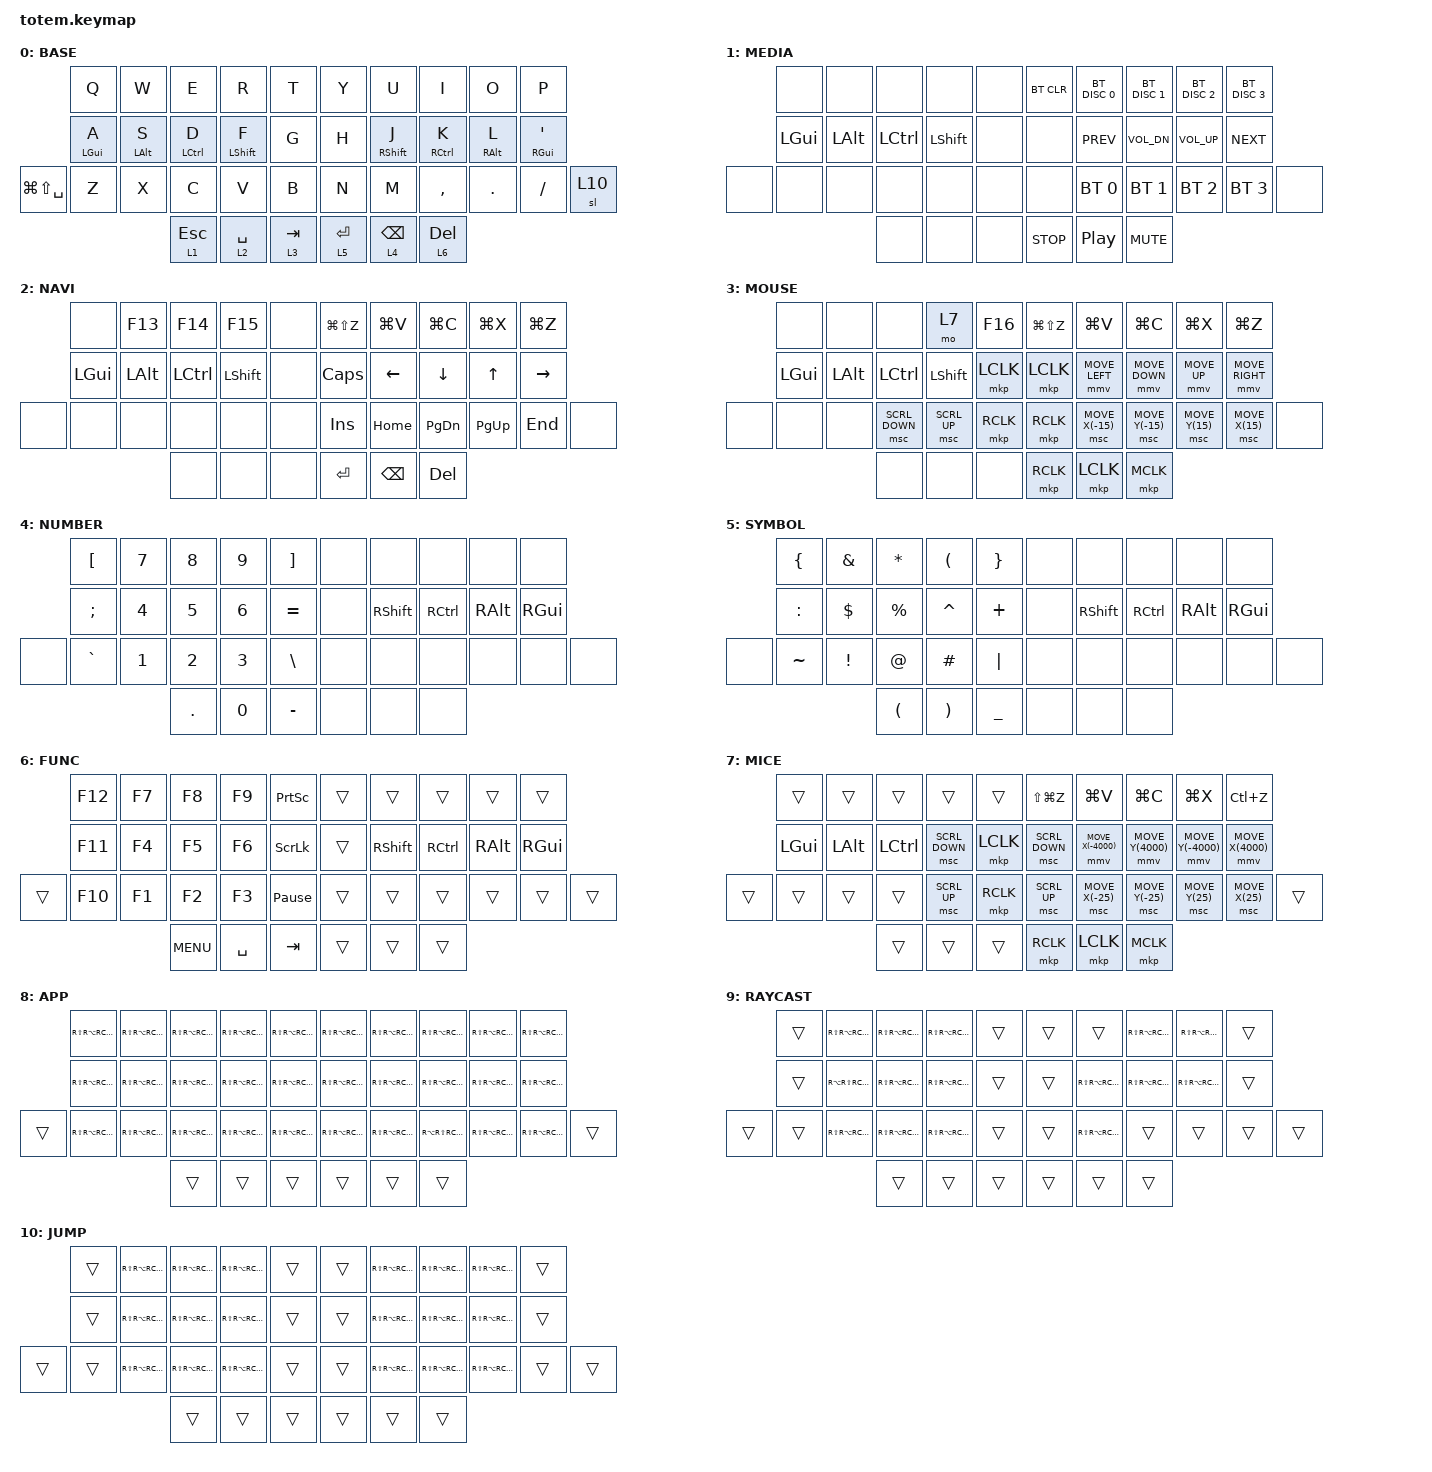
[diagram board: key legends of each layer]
//
//                                                        ▀▀▀▀▀     ▀▀▀▀▀          ▀▀█▀▀
//                                                        ▄▀▀▀▄  ▄  ▄▀▀▀▄  ▄  ▄▀▀▀▄  █  ▄▀▀▀▄
//                                                        █   █  █  █   █  █  █   █  █  █   █
//                                                         ▀▀▀   █   ▀▀▀   █   ▀▀▀   ▀   ▀▀▀
//                                                               █      ▄▄▄█▄▄▄    █   █  
//                                                               ▀      █  █  █     █▄█
//                                                             ▀▀▀▀▀    █  █  █      ▀
//                                                                      ▀  ▀  ▀
//
// ▄▄▄▄▄▄▄▄▄▄▄▄▄▄▄▄▄▄▄▄▄▄▄▄▄▄▄▄▄▄▄▄▄▄▄▄▄▄▄▄▄▄▄▄▄▄▄▄▄▄▄▄▄▄▄▄▄▄▄▄▄▄▄▄▄▄▄▄▄▄▄▄▄▄▄▄▄▄▄▄▄▄▄▄▄▄▄▄▄▄▄▄▄▄▄▄▄▄▄▄▄▄▄▄▄▄▄▄▄▄▄▄▄▄▄▄▄▄▄▄▄▄▄▄▄▄▄▄▄▄▄▄▄▄▄▄▄▄▄▄▄▄▄▄▄▄▄▄▄

#include "pointing_config.h"
#include <behaviors.dtsi>
#include <dt-bindings/zmk/bt.h>
#include <dt-bindings/zmk/keys.h>
#include <dt-bindings/zmk/pointing.h>

#define BASE 0
#define NAV  1
#define SYM  2
#define ADJ  3
#define TVP1 4
#define TVP2 5

&mt {
    quick-tap-ms = <100>;
    global-quick-tap;
    flavor = "tap-preferred";
    tapping-term-ms = <170>;
};

/ {
    combos {
        compatible = "zmk,combos";

        app_layer_combo {
            bindings = <&mo 8>;
            key-positions = <33 34>;
        };

        ray_layer_combo {
            bindings = <&mo 9>;
            key-positions = <36 35>;
        };
    };

    macros {
        gif: gif {
            label = "giphy";
            compatible = "zmk,behavior-macro";
            #binding-cells = <0>;
            bindings =
                <&macro_press>,
                <&kp LSHFT>,
                <&macro_tap>,
                <&kp N2>,
                <&macro_release>,
                <&kp LSHFT>,
                <&macro_tap>,
                <&kp G &kp I &kp F>;
        };
    };

    keymap {
        compatible = "zmk,keymap";

        // ▄▄▄▄▄▄▄▄▄▄▄▄▄▄▄▄▄▄▄▄▄▄▄▄▄▄▄▄▄▄▄▄▄▄▄▄▄▄▄▄▄▄▄▄▄▄▄▄▄▄▄▄▄▄▄▄▄▄▄▄▄▄▄▄▄▄▄▄▄▄▄▄▄▄▄▄▄▄▄▄▄▄▄▄▄▄▄▄▄▄▄▄▄▄▄▄▄▄▄▄▄▄▄▄▄▄▄▄▄▄▄▄▄▄▄▄▄▄▄▄▄▄▄▄▄▄▄▄▄▄▄▄▄▄▄▄▄▄▄▄▄▄▄▄▄▄▄▄▄

        BASE {
            // ┏━━━━━━━━━━━━━━━━━━━━━━━━━━━━━━━━━━━━━━━┓

            label = "BASE";

            // ┗━━━━━━━━━━━━━━━━━━━━━━━━━━━━━━━━━━━━━━━┛
            //             ┏━━━━━━━━━━━┳━━━━━━━━━━━┳━━━━━━━━━━━┳━━━━━━━━━━━┳━━━━━━━━━━━┓   ┏━━━━━━━━━━━┳━━━━━━━━━━━┳━━━━━━━━━━━┳━━━━━━━━━━━┳━━━━━━━━━━━┓
            //             ┃     Q     ┃     W     ┃     F     ┃     P     ┃     G     ┃   ┃     J     ┃     L     ┃     U     ┃     Y     ┃     ;     ┃
            //             ┣━━━━━━━━━━━╋━━━━━━━━━━━╋━━━━━━━━━━━╋━━━━━━━━━━━╋━━━━━━━━━━━┫   ┣━━━━━━━━━━━╋━━━━━━━━━━━╋━━━━━━━━━━━╋━━━━━━━━━━━╋━━━━━━━━━━━┫
            //             ┃     A     ┃     R     ┃     S     ┃     T     ┃     D     ┃   ┃     H     ┃     N     ┃     E     ┃     I     ┃     O     ┃
            // ┏━━━━━━━━━━━╋━━━━━━━━━━━╋━━━━━━━━━━━╋━━━━━━━━━━━╋━━━━━━━━━━━╋━━━━━━━━━━━┫   ┣━━━━━━━━━━━╋━━━━━━━━━━━╋━━━━━━━━━━━╋━━━━━━━━━━━╋━━━━━━━━━━━╋━━━━━━━━━━━┓
            // ┃     Q     ┃     Z     ┃     X     ┃     C     ┃     V     ┃     B     ┃   ┃     K     ┃     M     ┃     ,     ┃     .     ┃     /     ┃     \     ┃
            // ┗━━━━━━━━━━━┻━━━━━━━━━━━┻━━━━━━━━━━━╋━━━━━━━━━━━╋━━━━━━━━━━━╋━━━━━━━━━━━┫   ┣━━━━━━━━━━━╋━━━━━━━━━━━╋━━━━━━━━━━━╋━━━━━━━━━━━┻━━━━━━━━━━━┻━━━━━━━━━━━┛
            //                                     ┃    DEL    ┃    TAB    ┃    SPC    ┃   ┃   ENTER   ┃           ┃   BSPC    ┃
            //                                     ┗━━━━━━━━━━━┻━━━━━━━━━━━┻━━━━━━━━━━━┛   ┗━━━━━━━━━━━┻━━━━━━━━━━━┻━━━━━━━━━━━┛

            bindings = <
                   &kp Q       &kp W       &kp E        &kp R        &kp T        &kp Y        &kp U            &kp I         &kp O       &kp P
                   &mt LGUI A  &mt LALT S  &mt LCTRL D  &mt LSHFT F  &kp G        &kp H        &mt RSHFT J      &mt RCTRL K   &mt RALT L  &mt RGUI SQT
&kp LG(LS(SPACE))  &kp Z       &kp X       &kp C        &kp V        &kp B        &kp N        &kp M            &kp COMMA     &kp PERIOD  &kp SLASH     &sl 10
                                           &lt 1 ESC    &lt 2 SPACE  &lt 3 TAB    &lt 5 ENTER  &lt 4 BACKSPACE  &lt 6 DELETE
            >;
        };

        MEDIA {
            // ┏━━━━━━━━━━━━━━━━━━━━━━━━━━━━━━━━━━━━━━━┓

            label = "MEDIA";

            // ┗━━━━━━━━━━━━━━━━━━━━━━━━━━━━━━━━━━━━━━━┛
            //             ┏━━━━━━━━━━━┳━━━━━━━━━━━┳━━━━━━━━━━━┳━━━━━━━━━━━┳━━━━━━━━━━━┓   ┏━━━━━━━━━━━┳━━━━━━━━━━━┳━━━━━━━━━━━┳━━━━━━━━━━━┳━━━━━━━━━━━┓
            //             ┃   RESET   ┃ BT CLEAR  ┃  OUT TOG  ┃           ┃           ┃   ┃           ┃    F7     ┃    F8     ┃    F9     ┃    F12    ┃
            //             ┣━━━━━━━━━━━╋━━━━━━━━━━━╋━━━━━━━━━━━╋━━━━━━━━━━━╋━━━━━━━━━━━┫   ┣━━━━━━━━━━━╋━━━━━━━━━━━╋━━━━━━━━━━━╋━━━━━━━━━━━╋━━━━━━━━━━━┫
            //             ┃ BOOTLOAD  ┃ BT NEXT   ┃           ┃           ┃           ┃   ┃           ┃    F4     ┃    F5     ┃    F6     ┃    F11    ┃
            // ┏━━━━━━━━━━━╋━━━━━━━━━━━╋━━━━━━━━━━━╋━━━━━━━━━━━╋━━━━━━━━━━━╋━━━━━━━━━━━┫   ┣━━━━━━━━━━━╋━━━━━━━━━━━╋━━━━━━━━━━━╋━━━━━━━━━━━╋━━━━━━━━━━━╋━━━━━━━━━━━┓
            // ┃           ┃           ┃ BT PREV   ┃           ┃           ┃           ┃   ┃           ┃    F1     ┃    F2     ┃    F3     ┃    F10    ┃           ┃
            // ┗━━━━━━━━━━━┻━━━━━━━━━━━┻━━━━━━━━━━━╋━━━━━━━━━━━╋━━━━━━━━━━━╋━━━━━━━━━━━┫   ┣━━━━━━━━━━━╋━━━━━━━━━━━╋━━━━━━━━━━━╋━━━━━━━━━━━┻━━━━━━━━━━━┻━━━━━━━━━━━┛
            //                                     ┃           ┃           ┃           ┃   ┃           ┃           ┃           ┃
            //                                     ┗━━━━━━━━━━━┻━━━━━━━━━━━┻━━━━━━━━━━━┛   ┗━━━━━━━━━━━┻━━━━━━━━━━━┻━━━━━━━━━━━┛

            bindings = <
       &none         &none         &none      &none           &none    &bt BT_CLR  &bt BT_DISC 0     &bt BT_DISC 1  &bt BT_DISC 2    &bt BT_DISC 3
       &kp LEFT_GUI  &kp LEFT_ALT  &kp LCTRL  &kp LEFT_SHIFT  &none    &none       &kp C_PREV        &kp C_VOL_DN   &kp C_VOLUME_UP  &kp C_NEXT
&none  &none         &none         &none      &none           &none    &none       &bt BT_SEL 0      &bt BT_SEL 1   &bt BT_SEL 2     &bt BT_SEL 3   &none
                                   &none      &none           &none    &kp C_STOP  &kp C_PLAY_PAUSE  &kp C_MUTE
            >;
        };

        NAVI {
            // ┏━━━━━━━━━━━━━━━━━━━━━━━━━━━━━━━━━━━━━━━┓

            label = "NAVI";

            // ┗━━━━━━━━━━━━━━━━━━━━━━━━━━━━━━━━━━━━━━━┛
            //             ┏━━━━━━━━━━━┳━━━━━━━━━━━┳━━━━━━━━━━━┳━━━━━━━━━━━┳━━━━━━━━━━━┓   ┏━━━━━━━━━━━┳━━━━━━━━━━━┳━━━━━━━━━━━┳━━━━━━━━━━━┳━━━━━━━━━━━┓
            //             ┃           ┃           ┃     UP    ┃           ┃     {     ┃   ┃     }     ┃     7     ┃     8     ┃     9     ┃     +     ┃
            //             ┣━━━━━━━━━━━╋━━━━━━━━━━━╋━━━━━━━━━━━╋━━━━━━━━━━━╋━━━━━━━━━━━┫   ┣━━━━━━━━━━━╋━━━━━━━━━━━╋━━━━━━━━━━━╋━━━━━━━━━━━╋━━━━━━━━━━━┫
            //             ┃   SHIFT   ┃   LEFT    ┃    DOWN   ┃   RIGHT   ┃     [     ┃   ┃     ]     ┃     4     ┃     5     ┃     6     ┃     -     ┃
            // ┏━━━━━━━━━━━╋━━━━━━━━━━━╋━━━━━━━━━━━╋━━━━━━━━━━━╋━━━━━━━━━━━╋━━━━━━━━━━━┫   ┣━━━━━━━━━━━╋━━━━━━━━━━━╋━━━━━━━━━━━╋━━━━━━━━━━━╋━━━━━━━━━━━╋━━━━━━━━━━━┓
            // ┃           ┃           ┃   P UP    ┃  C LOCK   ┃  P DOWN   ┃     (     ┃   ┃     )     ┃     1     ┃     2     ┃     3     ┃     *     ┃           ┃
            // ┗━━━━━━━━━━━┻━━━━━━━━━━━┻━━━━━━━━━━━╋━━━━━━━━━━━╋━━━━━━━━━━━╋━━━━━━━━━━━┫   ┣━━━━━━━━━━━╋━━━━━━━━━━━╋━━━━━━━━━━━╋━━━━━━━━━━━┻━━━━━━━━━━━┻━━━━━━━━━━━┛
            //                                     ┃           ┃    TAB    ┃    SPC    ┃   ┃    DEL    ┃     0     ┃           ┃
            //                                     ┗━━━━━━━━━━━┻━━━━━━━━━━━┻━━━━━━━━━━━┛   ┗━━━━━━━━━━━┻━━━━━━━━━━━┻━━━━━━━━━━━┛

            bindings = <
       &none     &kp F13   &kp F14    &kp F15     &none    &kp LG(LS(Z))  &kp LG(V)      &kp LG(C)      &kp LG(X)     &kp LG(Z)
       &kp LGUI  &kp LALT  &kp LCTRL  &kp LSHIFT  &none    &kp CAPSLOCK   &kp LEFT       &kp DOWN       &kp UP_ARROW  &kp RIGHT
&none  &none     &none     &none      &none       &none    &kp INSERT     &kp HOME       &kp PAGE_DOWN  &kp PAGE_UP   &kp END    &none
                           &none      &none       &none    &kp ENTER      &kp BACKSPACE  &kp DELETE
            >;
        };

        MOUSE {
            // ┏━━━━━━━━━━━━━━━━━━━━━━━━━━━━━━━━━━━━━━━┓

            label = "MOUSE";

            // ┗━━━━━━━━━━━━━━━━━━━━━━━━━━━━━━━━━━━━━━━┛

            bindings = <
       &none     &none         &none           &mo 7           &kp F16      &kp LG(LS(Z))  &kp LG(V)         &kp LG(C)         &kp LG(X)        &kp LG(Z)
       &kp LGUI  &kp LEFT_ALT  &kp LCTRL       &kp LEFT_SHIFT  &mkp LCLK    &mkp LCLK      &mmv MOVE_LEFT    &mmv MOVE_DOWN    &mmv MOVE_UP     &mmv MOVE_RIGHT
&none  &none     &none         &msc SCRL_DOWN  &msc SCRL_UP    &mkp RCLK    &mkp RCLK      &msc MOVE_X(-15)  &msc MOVE_Y(-15)  &msc MOVE_Y(15)  &msc MOVE_X(15)  &none
                               &none           &none           &none        &mkp RCLK      &mkp LCLK         &mkp MCLK
            >;
        };

        NUMBER {
            // ┏━━━━━━━━━━━━━━━━━━━━━━━━━━━━━━━━━━━━━━━┓

            label = "NUMBER";

            // ┗━━━━━━━━━━━━━━━━━━━━━━━━━━━━━━━━━━━━━━━┛
            //             ┏━━━━━━━━━━━┳━━━━━━━━━━━┳━━━━━━━━━━━┳━━━━━━━━━━━┳━━━━━━━━━━━┓   ┏━━━━━━━━━━━┳━━━━━━━━━━━┳━━━━━━━━━━━┳━━━━━━━━━━━┳━━━━━━━━━━━┓
            //             ┃ NEXT FILE ┃ MARK IN   ┃ ROTATE    ┃ MARK OUT  ┃ SHOW SNAP ┃   ┃           ┃           ┃           ┃           ┃           ┃
            //             ┣━━━━━━━━━━━╋━━━━━━━━━━━╋━━━━━━━━━━━╋━━━━━━━━━━━╋━━━━━━━━━━━┫   ┣━━━━━━━━━━━╋━━━━━━━━━━━╋━━━━━━━━━━━╋━━━━━━━━━━━╋━━━━━━━━━━━┫
            //             ┃ TVP II    ┃ LEFT      ┃ PAN       ┃ RIGHT     ┃ PLAY/FLIP ┃   ┃           ┃           ┃           ┃           ┃           ┃
            // ┏━━━━━━━━━━━╋━━━━━━━━━━━╋━━━━━━━━━━━╋━━━━━━━━━━━╋━━━━━━━━━━━╋━━━━━━━━━━━┫   ┣━━━━━━━━━━━╋━━━━━━━━━━━╋━━━━━━━━━━━╋━━━━━━━━━━━╋━━━━━━━━━━━╋━━━━━━━━━━━┓
            // ┃ FULLSCR   ┃ SHIFT     ┃ COPY      ┃ DELETE    ┃ PASTE     ┃ IMG MARK  ┃   ┃           ┃           ┃           ┃           ┃           ┃           ┃
            // ┗━━━━━━━━━━━┻━━━━━━━━━━━┻━━━━━━━━━━━╋━━━━━━━━━━━╋━━━━━━━━━━━╋━━━━━━━━━━━┫   ┣━━━━━━━━━━━╋━━━━━━━━━━━╋━━━━━━━━━━━╋━━━━━━━━━━━┻━━━━━━━━━━━┻━━━━━━━━━━━┛
            //                                     ┃           ┃ UNDO/SAVE ┃  SEL/MOV  ┃   ┃           ┃           ┃           ┃
            //                                     ┗━━━━━━━━━━━┻━━━━━━━━━━━┻━━━━━━━━━━━┛   ┗━━━━━━━━━━━┻━━━━━━━━━━━┻━━━━━━━━━━━┛

            bindings = <
       &kp LEFT_BRACKET  &kp N7  &kp N8      &kp N9  &kp RIGHT_BRACKET    &none  &none            &none      &none          &none
       &kp SEMICOLON     &kp N4  &kp N5      &kp N6  &kp EQUAL            &none  &kp RIGHT_SHIFT  &kp RCTRL  &kp RIGHT_ALT  &kp RIGHT_GUI
&none  &kp GRAVE         &kp N1  &kp N2      &kp N3  &kp BACKSLASH        &none  &none            &none      &none          &none          &none
                                 &kp PERIOD  &kp N0  &kp MINUS            &none  &none            &none
            >;
        };

        SYMBOL {
            // ┏━━━━━━━━━━━━━━━━━━━━━━━━━━━━━━━━━━━━━━━┓

            label = "SYMBOL";

            // ┗━━━━━━━━━━━━━━━━━━━━━━━━━━━━━━━━━━━━━━━┛
            //             ┏━━━━━━━━━━━┳━━━━━━━━━━━┳━━━━━━━━━━━┳━━━━━━━━━━━┳━━━━━━━━━━━┓   ┏━━━━━━━━━━━┳━━━━━━━━━━━┳━━━━━━━━━━━┳━━━━━━━━━━━┳━━━━━━━━━━━┓
            //             ┃     !     ┃     @     ┃     #     ┃     $     ┃     %     ┃   ┃     ˆ     ┃     &     ┃     Ü     ┃     '     ┃     "     ┃
            //             ┣━━━━━━━━━━━╋━━━━━━━━━━━╋━━━━━━━━━━━╋━━━━━━━━━━━╋━━━━━━━━━━━┫   ┣━━━━━━━━━━━╋━━━━━━━━━━━╋━━━━━━━━━━━╋━━━━━━━━━━━╋━━━━━━━━━━━┫
            //             ┃     Ä     ┃           ┃    SZ     ┃           ┃           ┃   ┃   MUTE    ┃   YEN     ┃   EURO    ┃  POUND    ┃     Ö     ┃
            // ┏━━━━━━━━━━━╋━━━━━━━━━━━╋━━━━━━━━━━━╋━━━━━━━━━━━╋━━━━━━━━━━━╋━━━━━━━━━━━┫   ┣━━━━━━━━━━━╋━━━━━━━━━━━╋━━━━━━━━━━━╋━━━━━━━━━━━╋━━━━━━━━━━━╋━━━━━━━━━━━┓
            // ┃           ┃  EMAIL1   ┃  EMAIL2   ┃           ┃           ┃           ┃   ┃   VOL-    ┃   VOL+    ┃   LAST    ┃   NEXT    ┃     \     ┃           ┃
            // ┗━━━━━━━━━━━┻━━━━━━━━━━━┻━━━━━━━━━━━╋━━━━━━━━━━━╋━━━━━━━━━━━╋━━━━━━━━━━━┫   ┣━━━━━━━━━━━╋━━━━━━━━━━━╋━━━━━━━━━━━╋━━━━━━━━━━━┻━━━━━━━━━━━┻━━━━━━━━━━━┛
            //                                     ┃           ┃    GIF    ┃    ADJ    ┃   ┃           ┃           ┃           ┃
            //                                     ┗━━━━━━━━━━━┻━━━━━━━━━━━┻━━━━━━━━━━━┛   ┗━━━━━━━━━━━┻━━━━━━━━━━━┻━━━━━━━━━━━┛

            bindings = <
       &kp LEFT_BRACE  &kp AMPERSAND    &kp ASTERISK          &kp LEFT_PARENTHESIS   &kp RIGHT_BRACE    &none  &none            &none              &none          &none
       &kp COLON       &kp DOLLAR       &kp PERCENT           &kp CARET              &kp PLUS           &none  &kp RIGHT_SHIFT  &kp RIGHT_CONTROL  &kp RIGHT_ALT  &kp RIGHT_GUI
&none  &kp TILDE       &kp EXCLAMATION  &kp AT_SIGN           &kp HASH               &kp PIPE           &none  &none            &none              &none          &none          &none
                                        &kp LEFT_PARENTHESIS  &kp RIGHT_PARENTHESIS  &kp UNDERSCORE     &none  &none            &none
            >;
        };

        FUNC {
            // ┏━━━━━━━━━━━━━━━━━━━━━━━━━━━━━━━━━━━━━━━┓

            label = "FUNC";

            // ┗━━━━━━━━━━━━━━━━━━━━━━━━━━━━━━━━━━━━━━━┛
            //             ┏━━━━━━━━━━━┳━━━━━━━━━━━┳━━━━━━━━━━━┳━━━━━━━━━━━┳━━━━━━━━━━━┓   ┏━━━━━━━━━━━┳━━━━━━━━━━━┳━━━━━━━━━━━┳━━━━━━━━━━━┳━━━━━━━━━━━┓
            //             ┃ SOLO      ┃ TOGGLE IN ┃ RESET ROT ┃ TOGGLE OUT┃ TAKE SNAP ┃   ┃           ┃           ┃           ┃           ┃           ┃
            //             ┣━━━━━━━━━━━╋━━━━━━━━━━━╋━━━━━━━━━━━╋━━━━━━━━━━━╋━━━━━━━━━━━┫   ┣━━━━━━━━━━━╋━━━━━━━━━━━╋━━━━━━━━━━━╋━━━━━━━━━━━╋━━━━━━━━━━━┫
            //             ┃ ---       ┃ LAST KEY  ┃ NEW KEY   ┃ NEXT KEY  ┃ ENTER     ┃   ┃           ┃           ┃           ┃           ┃           ┃
            // ┏━━━━━━━━━━━╋━━━━━━━━━━━╋━━━━━━━━━━━╋━━━━━━━━━━━╋━━━━━━━━━━━╋━━━━━━━━━━━┫   ┣━━━━━━━━━━━╋━━━━━━━━━━━╋━━━━━━━━━━━╋━━━━━━━━━━━╋━━━━━━━━━━━╋━━━━━━━━━━━┓
            // ┃           ┃ FULLSCR   ┃ CPY2BRUSH ┃ DEL HEAD  ┃ PSTinPLACE┃ BOOK MARK ┃   ┃           ┃           ┃           ┃           ┃           ┃           ┃
            // ┗━━━━━━━━━━━┻━━━━━━━━━━━┻━━━━━━━━━━━╋━━━━━━━━━━━╋━━━━━━━━━━━╋━━━━━━━━━━━┫   ┣━━━━━━━━━━━╋━━━━━━━━━━━╋━━━━━━━━━━━╋━━━━━━━━━━━┻━━━━━━━━━━━┻━━━━━━━━━━━┛
            //                                     ┃           ┃ REDO/SAV1 ┃TRANS/WARP ┃   ┃           ┃           ┃           ┃
            //                                     ┗━━━━━━━━━━━┻━━━━━━━━━━━┻━━━━━━━━━━━┛   ┗━━━━━━━━━━━┻━━━━━━━━━━━┻━━━━━━━━━━━┛

            bindings = <
        &kp F12  &kp F7  &kp F8      &kp F9     &kp PRINTSCREEN    &trans  &trans           &trans     &trans         &trans
        &kp F11  &kp F4  &kp F5      &kp F6     &kp SCROLLLOCK     &trans  &kp RIGHT_SHIFT  &kp RCTRL  &kp RIGHT_ALT  &kp RGUI
&trans  &kp F10  &kp F1  &kp F2      &kp F3     &kp PAUSE_BREAK    &trans  &trans           &trans     &trans         &trans    &trans
                         &kp K_MENU  &kp SPACE  &kp TAB            &trans  &trans           &trans
            >;
        };

        MICE {
            // ┏━━━━━━━━━━━━━━━━━━━━━━━━━━━━━━━━━━━━━━━┓

            label = "MICE";

            // ┗━━━━━━━━━━━━━━━━━━━━━━━━━━━━━━━━━━━━━━━┛

            bindings = <
        &trans    &trans        &trans            &trans          &trans       &kp LS(LG(Z))   &kp LG(V)           &kp LG(C)          &kp LG(X)           &kp LC(Z)
        &kp LGUI  &kp LEFT_ALT  &kp LEFT_CONTROL  &msc SCRL_DOWN  &mkp LCLK    &msc SCRL_DOWN  &mmv MOVE_X(-4000)  &mmv MOVE_Y(4000)  &mmv MOVE_Y(-4000)  &mmv MOVE_X(4000)
&trans  &trans    &trans        &trans            &msc SCRL_UP    &mkp RCLK    &msc SCRL_UP    &msc MOVE_X(-25)    &msc MOVE_Y(-25)   &msc MOVE_Y(25)     &msc MOVE_X(25)    &trans
                                &trans            &trans          &trans       &mkp RCLK       &mkp LCLK           &mkp MCLK
            >;
        };

        APP {
            // ┏━━━━━━━━━━━━━━━━━━━━━━━━━━━━━━━━━━━━━━━┓

            label = "APP";

            // ┗━━━━━━━━━━━━━━━━━━━━━━━━━━━━━━━━━━━━━━━┛

            bindings = <
        &kp RS(RA(RC(RG(Q))))  &kp RS(RA(RC(RG(W))))  &kp RS(RA(RC(RG(E))))  &kp RS(RA(RC(RG(R))))  &kp RS(RA(RC(RG(T))))    &kp RS(RA(RC(RG(Y))))  &kp RS(RA(RC(RG(U))))  &kp RS(RA(RC(RG(I))))      &kp RS(RA(RC(RG(O))))       &kp RS(RA(RC(RG(P))))
        &kp RS(RA(RC(RG(A))))  &kp RS(RA(RC(RG(S))))  &kp RS(RA(RC(RG(D))))  &kp RS(RA(RC(RG(F))))  &kp RS(RA(RC(RG(G))))    &kp RS(RA(RC(RG(H))))  &kp RS(RA(RC(RG(J))))  &kp RS(RA(RC(RG(K))))      &kp RS(RA(RC(RG(L))))       &kp RS(RA(RC(RG(SQT))))
&trans  &kp RS(RA(RC(RG(Z))))  &kp RS(RA(RC(RG(X))))  &kp RS(RA(RC(RG(C))))  &kp RS(RA(RC(RG(V))))  &kp RS(RA(RC(RG(B))))    &kp RS(RA(RC(RG(N))))  &kp RS(RA(RC(RG(M))))  &kp RA(RS(RC(RG(COMMA))))  &kp RS(RA(RC(RG(PERIOD))))  &kp RS(RA(RC(RG(SLASH))))  &trans
                                                      &trans                 &trans                 &trans                   &trans                 &trans                 &trans
            >;
        };

        RAYCAST {
            // ┏━━━━━━━━━━━━━━━━━━━━━━━━━━━━━━━━━━━━━━━┓

            label = "RAYCAST";

            // ┗━━━━━━━━━━━━━━━━━━━━━━━━━━━━━━━━━━━━━━━┛

            bindings = <
        &trans  &kp RS(RA(RC(RG(NUMBER_2))))  &kp RS(RA(RC(RG(NUMBER_3))))   &kp RS(RA(RC(RG(NUMBER_4))))  &trans    &trans  &trans                  &kp RS(RA(RC(RG(NUMBER_6))))  &kp RS(RA(RG(RC(N7))))  &trans
        &trans  &kp RA(RS(RC(RG(F20))))       &kp RS(RA(RC(RG(SEMICOLON))))  &kp RS(RA(RC(RG(NUMBER_1))))  &trans    &trans  &kp RS(RA(RC(RG(N8))))  &kp RS(RA(RC(RG(N9))))        &kp RS(RA(RC(RG(N0))))  &trans
&trans  &trans  &kp RS(RA(RC(RG(F17))))       &kp RS(RA(RC(RG(F18))))        &kp RS(RA(RC(RG(F19))))       &trans    &trans  &kp RS(RA(RC(RG(N5))))  &trans                        &trans                  &trans  &trans
                                              &trans                         &trans                        &trans    &trans  &trans                  &trans
            >;
        };

        JUMP {
            // ┏━━━━━━━━━━━━━━━━━━━━━━━━━━━━━━━━━━━━━━━┓

            label = "JUMP";

            // ┗━━━━━━━━━━━━━━━━━━━━━━━━━━━━━━━━━━━━━━━┛

            bindings = <
        &trans  &kp RS(RA(RC(RG(F7))))  &kp RS(RA(RC(RG(F8))))  &kp RS(RA(RC(RG(F9))))  &trans    &trans  &kp RS(RA(RC(RG(F7))))  &kp RS(RA(RC(RG(LS(F8)))))  &kp RS(RA(RC(RG(F9))))  &trans
        &trans  &kp RS(RA(RC(RG(F4))))  &kp RS(RA(RC(RG(F5))))  &kp RS(RA(RC(RG(F6))))  &trans    &trans  &kp RS(RA(RC(RG(F4))))  &kp RS(RA(RC(RG(F5))))      &kp RS(RA(RC(RG(F6))))  &trans
&trans  &trans  &kp RS(RA(RC(RG(F1))))  &kp RS(RA(RC(RG(F2))))  &kp RS(RA(RC(RG(F3))))  &trans    &trans  &kp RS(RA(RC(RG(F1))))  &kp RS(RA(RC(RG(F2))))      &kp RS(RA(RC(RG(F3))))  &trans  &trans
                                        &trans                  &trans                  &trans    &trans  &trans                  &trans
            >;
        };
    };
};
